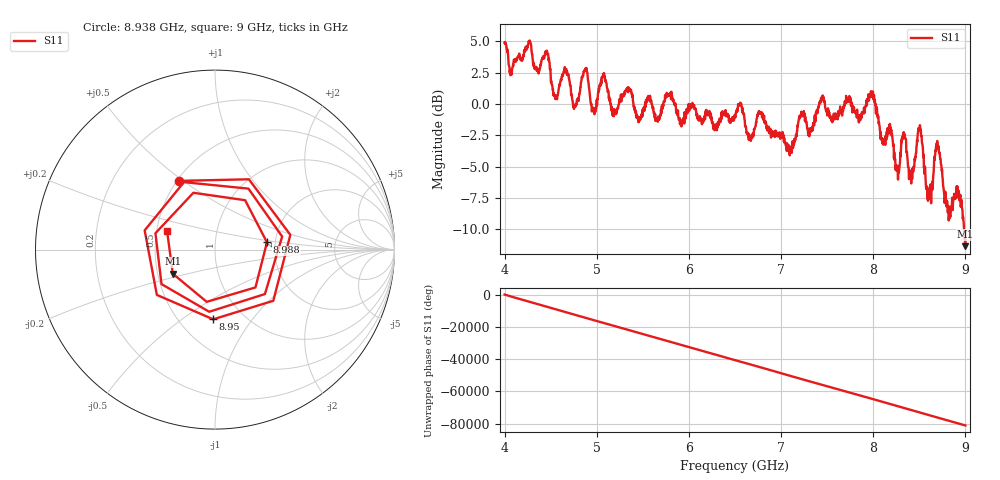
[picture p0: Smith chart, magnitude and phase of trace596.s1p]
! Created with skrf 1.8.0 (http://scikit-rf.org).
# Hz S RI R 50.0
!freq ReS11 ImS11
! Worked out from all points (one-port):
!   1601 points, 4 GHz to 9 GHz, reference 50 ohm
!   lowest |S11| = -11.3 dB at 8.997 GHz (marker M1), VSWR 1.74, Z = 30 - j8.71 ohm
!   |S11| at or under -10 dB: 8.98479 GHz to end of sweep
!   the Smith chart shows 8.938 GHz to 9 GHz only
!   S11 on the Smith chart (normalised r, x): 8.938 GHz: 0.51, +0.48; 8.95 GHz: 0.73, -0.66; 8.988 GHz: 1.81, +0.16; 9 GHz: 0.57, +0.13
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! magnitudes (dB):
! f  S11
! 4 GHz  4.9
! 4.069 GHz  2.6
! 4.456 GHz  4.2
! 4.553 GHz  0.5
! 4.625 GHz  2.3
! 4.759 GHz  -0.1
! 4.872 GHz  2.7
! 4.962 GHz  -0.4
! 5.072 GHz  2.4
! 5.25 GHz  0.2
! 5.875 GHz  -0.6
! 6.5 GHz  -1.0
! 7.125 GHz  -3.0
! 7.222 GHz  -0.9
! 7.75 GHz  0.3
! 7.991 GHz  1.0
! 8.256 GHz  -4.9
! 8.331 GHz  -2.2
! 8.375 GHz  -4.7
! 8.506 GHz  -1.7
! 8.594 GHz  -7.7
! 8.697 GHz  -3.2
! 8.812 GHz  -8.4
! 8.938 GHz  -7.3
! 8.95 GHz  -8.2
! 8.988 GHz  -10.7
! 8.997 GHz  -11.3
! 9 GHz  -10.8
